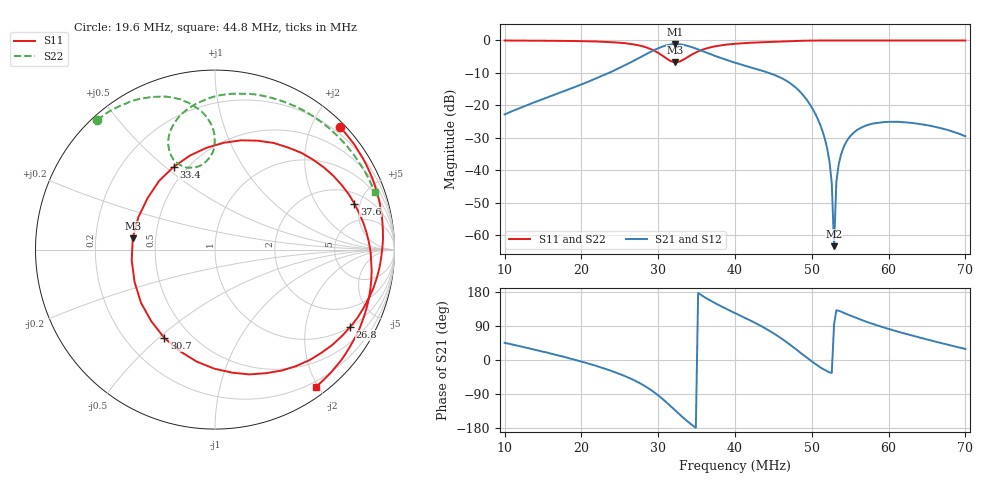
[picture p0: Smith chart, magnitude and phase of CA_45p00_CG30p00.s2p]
#  HZ  S  RI  R  50.00
! Rohde & Schwarz ZVT8 8Ports - Version 4.11 - 1300.0000k08 SN: 100242
! Date: 2026-07-31 14:59:36
! Measurements: S11 S21 S12 S22
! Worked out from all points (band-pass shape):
!   201 points, 10 MHz to 70 MHz, reference 50 ohm
!   highest |S21| = -1.14 dB at 32.2 MHz (marker M1); lowest = -63.3 dB at 52.9 MHz (marker M2)
!   |S21| within 3 dB of the highest: 28.52 MHz to 36.74 MHz (8.22 MHz wide, 25.2 % of centre)
!   lowest |S11| = -6.7 dB at 32.2 MHz (marker M3), VSWR 2.72, Z = 18.4 + j2.92 ohm
!   |S11| at or under -10 dB: nowhere
!   |S22| runs from -6.5 to 0.0 dB; largest |S21 - S12| = 0.0027
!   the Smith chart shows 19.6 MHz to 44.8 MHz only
!   S11 on the Smith chart (normalised r, x): 19.6 MHz: 0.08, +2.45; 26.8 MHz: 1.00, -3.50; 30.7 MHz: 0.36, -0.52; 33.4 MHz: 0.43, +0.53; 37.6 MHz: 2.87, +4.44; 44.8 MHz: 0.13, -1.97
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1e7  -0.4047 0.9107  0.051 0.0518  0.0508 0.0519  -0.9199 0.3828
1.96e7  0.6983 0.6825  0.2008 -0.007  0.2008 -0.0065  -0.6575 0.7228
2.02e7  0.7503 0.619  0.2137 -0.0198  0.2127 -0.0196  -0.6307 0.7407
2.41e7  0.9359 0.0564  0.2912 -0.1697  0.2906 -0.1692  -0.42 0.8394
2.68e7  0.7539 -0.4309  0.2942 -0.3863  0.2935 -0.3873  -0.2205 0.8433
3.01e7  -0.1025 -0.6239  -0.0654 -0.7633  -0.0647 -0.7634  -0.00228 0.6363
3.07e7  -0.282 -0.4925  -0.2114 -0.7869  -0.2106 -0.7845  -0.00335 0.5736
3.22e7  -0.4584 0.0623  -0.5948 -0.6444  -0.5941 -0.6434  -0.0991 0.4607
3.34e7  -0.2308 0.4607  -0.7679 -0.3614  -0.7657 -0.3611  -0.2073 0.4796
3.52e7  0.3258 0.5943  -0.7258 0.0401  -0.7261 0.0392  -0.2576 0.63
3.76e7  0.7767 0.2562  -0.4797 0.3006  -0.4804 0.3007  -0.1049 0.8129
4e7  0.8708 -0.1663  -0.2534 0.3769  -0.2528 0.3771  0.18 0.868
4.48e7  0.563 -0.7645  0.0875 0.2913  0.0876 0.2911  0.8899 0.32
4.72e7  0.2997 -0.9254  0.1679 0.14  0.1677 0.1396  0.846 -0.4674
5.02e7  -0.0749 -0.9916  0.0841 -0.00983  0.0842 -0.00968  -0.1757 -0.9731
5.23e7  -0.3326 -0.9404  0.0115 -0.00744  0.0115 -0.00741  -0.7682 -0.6283
5.26e7  -0.3667 -0.9267  0.00526 -0.00354  0.00527 -0.00354  -0.8194 -0.5623
5.29e7  -0.4014 -0.9131  -4.7e-05 0.00068  -2.66e-05 0.000665  -0.8617 -0.4958
5.32e7  -0.4336 -0.899  -0.00439 0.00504  -0.00438 0.00508  -0.8972 -0.4298
5.41e7  -0.5287 -0.8469  -0.0127 0.0181  -0.0127 0.0181  -0.9662 -0.2386
6.01e7  -0.9452 -0.3091  0.00817 0.0552  0.00816 0.0551  -0.8138 0.5705
7e7  -0.6843 0.7238  0.0292 0.0162  0.0291 0.0162  -0.25 0.9642
